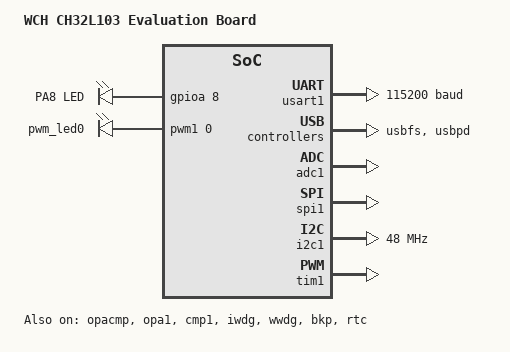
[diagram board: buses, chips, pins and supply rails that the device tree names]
/*
 * Copyright (c) 2026 Scott King
 *
 * SPDX-License-Identifier: Apache-2.0
 */

/dts-v1/;

#include <wch/ch32l103/ch32l103.dtsi>
#include <zephyr/dt-bindings/pwm/pwm.h>
#include "ch32l103_evt-pinctrl.dtsi"

/ {
	model = "WCH CH32L103 Evaluation Board";
	compatible = "wch,ch32l103-evt";

	chosen {
		zephyr,console = &usart1;
		zephyr,shell-uart = &usart1;
		zephyr,sram = &sram0;
		zephyr,flash = &flash0;
	};

	leds {
		compatible = "gpio-leds";
		blue_led: led_0 {
			gpios = <&gpioa 8 GPIO_ACTIVE_HIGH>;
			label = "PA8 LED";
		};
	};

	aliases {
		led0 = &blue_led;
		pwm-led0 = &pwm_led0;
	};

	pwmleds {
		compatible = "pwm-leds";
		pwm_led0: pwm_led_0 {
			pwms = <&pwm1 0 PWM_MSEC(20) PWM_POLARITY_NORMAL>;
		};
	};
};

&clk_hsi {
	status = "okay";
};

&pll {
	status = "okay";
	clocks = <&clk_hsi>;
	mul = <18>;
};

&usart1 {
	status = "okay";
	current-speed = <115200>;
	pinctrl-0 = <&usart1_default>;
	pinctrl-names = "default";
	dmas = <&dma1 3>, <&dma1 4>;
	dma-names = "tx", "rx";
};

&gpioa {
	status = "okay";
};

&rcc {
	status = "okay";
	clocks = <&pll>;
};

zephyr_udc0: &usbfs {
	status = "okay";
	pinctrl-0 = <&usbfs_default>;
	pinctrl-names = "default";
};

&usbpd {
    status = "okay";
    pinctrl-0 = <&usbpd_default>;
    pinctrl-names = "default";
};

&adc1 {
    status = "okay";
    pinctrl-0 = <&adc1_default>;
    pinctrl-names = "default";
};

&spi1 {
    status = "okay";
    pinctrl-0 = <&spi1_default>;
    pinctrl-names = "default";
    dmas = <&dma1 2>, <&dma1 1>;
    dma-names = "tx", "rx";
};

&cpu0 {
	clock-frequency = <72000000>;
};

&i2c1 {
    status = "okay";
    pinctrl-0 = <&i2c1_default>;
    pinctrl-names = "default";
    clock-frequency = <48000000>;
    dmas = <&dma1 5>, <&dma1 6>;
    dma-names = "tx", "rx";
};

&opacmp {
	status = "okay";
};

&opa1 {
	status = "okay";
};

&cmp1 {
	status = "okay";
};

&tim1 {
	status = "okay";
	channels = <4>;
	pwm1: pwm {
		compatible = "wch,gptm-pwm";
		status = "okay";
		#pwm-cells = <3>;
		pinctrl-0 = <&tim1_default>;
		pinctrl-names = "default";
	};
};
&iwdg { status = "okay"; };
&wwdg { status = "okay"; };
&bkp { status = "okay"; };
&rtc { status = "okay"; };
